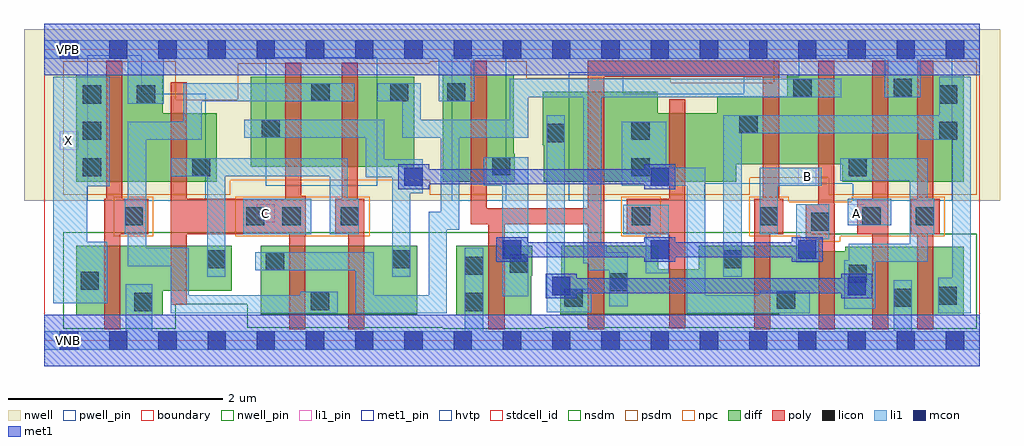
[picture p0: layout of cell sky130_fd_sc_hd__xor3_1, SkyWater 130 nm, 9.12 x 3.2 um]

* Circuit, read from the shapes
.subckt sky130_fd_sc_hd__xor3_1 A B C VGND VNB VPB VPWR X
XM1 VGND n1 X VNB sky130_fd_pr__nfet_01v8 w=0.65 l=0.15
XM2 n2 C VGND VNB sky130_fd_pr__nfet_01v8 w=0.42 l=0.15
XM3 n1 C n3 VNB sky130_fd_pr__nfet_01v8 w=0.64 l=0.15
XM4 n4 n2 n1 VNB sky130_fd_pr__nfet_01v8 w=0.64 l=0.15
XM5 n5 B VGND VNB sky130_fd_pr__nfet_01v8 w=0.65 l=0.15
XM6 n3 B n6 VNB sky130_fd_pr__nfet_01v8 w=0.64 l=0.15
XM7 n7 n5 n3 VNB sky130_fd_pr__nfet_01v8 w=0.42 l=0.15
XM8 n4 B n7 VNB sky130_fd_pr__nfet_01v8 w=0.64 l=0.15
XM9 n6 n5 n4 VNB sky130_fd_pr__nfet_01v8 w=0.6 l=0.15
XM10 VGND A n6 VNB sky130_fd_pr__nfet_01v8 w=0.64 l=0.15
XM11 n7 n6 VGND VNB sky130_fd_pr__nfet_01v8 w=0.64 l=0.15
XM12 VPWR n1 X VPB sky130_fd_pr__pfet_01v8_hvt w=1 l=0.15
XM13 n2 C VPWR VPB sky130_fd_pr__pfet_01v8_hvt w=0.64 l=0.15
XM14 n1 C n4 VPB sky130_fd_pr__pfet_01v8_hvt w=0.84 l=0.15
XM15 n3 n2 n1 VPB sky130_fd_pr__pfet_01v8_hvt w=0.84 l=0.15
XM16 n5 B VPWR VPB sky130_fd_pr__pfet_01v8_hvt w=1 l=0.15
XM17 n4 B n6 VPB sky130_fd_pr__pfet_01v8_hvt w=0.84 l=0.15
XM18 n7 n5 n4 VPB sky130_fd_pr__pfet_01v8_hvt w=0.64 l=0.15
XM19 n3 B n7 VPB sky130_fd_pr__pfet_01v8_hvt w=0.64 l=0.15
XM20 n6 n5 n3 VPB sky130_fd_pr__pfet_01v8_hvt w=0.84 l=0.15
XM21 VPWR A n6 VPB sky130_fd_pr__pfet_01v8_hvt w=1 l=0.15
XM22 n7 n6 VPWR VPB sky130_fd_pr__pfet_01v8_hvt w=1 l=0.15
.ends

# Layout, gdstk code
import gdstk
lib = gdstk.Library(unit=1e-6, precision=1e-09)
def R(c, l, rs):  # rectangles x0, y0, x1, y1
    for r in rs: c.add(gdstk.rectangle(r[:2], r[2:], *l))
def A(c, l, x, y, w, h, nx, ny, dx, dy):  # array of equal rectangles
    R(c, l, [(x+i*dx, y+j*dy, x+i*dx+w, y+j*dy+h) for i in range(nx) for j in range(ny)])
nwell_pin = (64, 16)
nwell = (64, 20)
diff = (65, 20)
poly = (66, 20)
licon = (66, 44)
li1_pin = (67, 16)
li1 = (67, 20)
mcon = (67, 44)
met1_pin = (68, 16)
met1 = (68, 20)
hvtp = (78, 44)
stdcell_id = (81, 4)
nsdm = (93, 44)
psdm = (94, 20)
npc = (95, 20)
pwell_pin = (122, 16)
boundary = (235, 4)

sky130_fd_sc_hd__xor3_1 = lib.new_cell('sky130_fd_sc_hd__xor3_1')
R(sky130_fd_sc_hd__xor3_1, nwell_pin, [(0.145,2.635,0.315,2.805)])
R(sky130_fd_sc_hd__xor3_1, nwell, [(-0.19,1.305,8.93,2.91)])
R(sky130_fd_sc_hd__xor3_1, diff, [(0.3,0.235,1.105,0.465), (3.85,0.235,4.55,0.605), (6.87,0.235,8.59,0.245), (2.02,0.245,3.485,0.885), (4.82,0.245,8.59,0.525), (0.3,0.465,1.75,0.885), (4.83,0.525,8.59,0.665), (3.85,0.605,4.56,0.885), (4.83,0.665,5.735,0.885), (6.115,0.665,8.59,0.835), (6.115,0.835,7.035,0.885), (7.485,0.835,8.59,0.875), (0.3,1.485,1.61,2.125), (3.725,1.485,4.395,1.745), (4.665,1.485,6.465,1.645), (7.455,1.485,8.59,1.645), (1.93,1.625,3.455,2.465), (4.665,1.645,8.59,1.825), (3.725,1.745,4.385,2.485), (4.655,1.825,8.59,2.125), (0.3,2.125,1.105,2.485), (4.655,2.125,5.73,2.325), (6.29,2.125,8.59,2.285), (6.94,2.285,8.59,2.485)])
R(sky130_fd_sc_hd__xor3_1, poly, [(0.56,0.105,0.71,0.995), (2.29,0.105,2.44,0.985), (2.84,0.105,2.99,0.995), (4.15,0.105,4.3,1.085), (5.08,0.105,5.23,1.085), (6.635,0.105,6.785,0.995), (7.235,0.105,7.385,0.945), (7.735,0.105,7.885,0.995), (8.155,0.105,8.305,0.995), (5.84,0.115,5.99,0.995), (1.18,0.335,1.33,0.995), (7.115,0.945,7.385,1.275), (2.29,0.985,2.445,0.995), (0.56,0.995,0.97,1.325), (1.18,0.995,2.445,1.325), (2.72,0.995,2.99,1.325), (5.44,0.995,5.99,1.325), (6.635,0.995,6.905,1.325), (7.595,0.995,7.885,1.325), (8.095,0.995,8.365,1.325), (3.985,1.085,5.23,1.235), (3.985,1.235,4.135,2.615), (5.08,1.235,5.23,2.465), (7.23,1.275,7.385,1.28), (7.23,1.28,7.38,2.615), (0.58,1.325,0.73,2.615), (1.18,1.325,1.33,2.415), (2.25,1.325,2.445,1.355), (2.78,1.325,2.93,2.595), (5.84,1.325,5.99,2.255), (6.715,1.325,6.865,2.465), (7.735,1.325,7.885,2.615), (8.155,1.325,8.305,2.615), (2.25,1.355,2.4,2.595), (5.08,2.465,6.865,2.615)])
A(sky130_fd_sc_hd__xor3_1, licon, 0.36, 1.535, 0.17, 0.17, 1, 3, 0, 0.34)
R(sky130_fd_sc_hd__xor3_1, licon, [(0.84,0.275,1.01,0.445), (3.93,0.275,4.1,0.445), (2.49,0.285,2.66,0.455), (6.845,0.295,7.015,0.465), (4.86,0.315,5.03,0.485), (7.935,0.315,8.105,0.485), (8.355,0.335,8.525,0.505), (5.28,0.46,5.45,0.63), (0.34,0.475,0.51,0.645), (7.515,0.54,7.685,0.71), (3.93,0.615,4.1,0.785), (4.35,0.635,4.52,0.805), (2.07,0.655,2.24,0.825), (1.52,0.675,1.69,0.845), (3.25,0.675,3.42,0.845), (6.345,0.675,6.515,0.845), (7.165,1.025,7.335,1.195), (0.75,1.075,0.92,1.245), (1.885,1.075,2.055,1.245), (2.225,1.075,2.395,1.245), (2.77,1.075,2.94,1.245), (5.49,1.075,5.66,1.245), (6.685,1.075,6.855,1.245), (7.645,1.075,7.815,1.245), (8.145,1.075,8.315,1.245), (1.38,1.535,1.55,1.705), (5.485,1.535,5.655,1.705), (7.515,1.535,7.685,1.705), (4.185,1.545,4.355,1.715), (4.695,1.855,4.865,2.025), (5.485,1.875,5.655,2.045), (8.36,1.875,8.53,2.045), (2.03,1.895,2.2,2.065), (6.495,1.935,6.665,2.105), (0.865,2.215,1.035,2.385), (8.36,2.215,8.53,2.385), (2.495,2.235,2.665,2.405), (3.23,2.235,3.4,2.405), (3.765,2.235,3.935,2.405), (7,2.275,7.17,2.445), (7.935,2.275,8.105,2.445)])
R(sky130_fd_sc_hd__xor3_1, li1_pin, [(1.985,1.105,2.155,1.275), (7.505,1.105,7.675,1.275), (7.045,1.445,7.215,1.615), (0.145,1.785,0.315,1.955)])
R(sky130_fd_sc_hd__xor3_1, li1, [(0,-0.085,8.74,0.085), (0.76,0.085,1.01,0.525), (3.93,0.085,4.1,0.865), (7.935,0.085,8.105,0.565), (1.18,0.255,2.74,0.425), (2.91,0.255,3.76,0.425), (6.005,0.255,7.15,0.425), (8.355,0.255,8.655,0.585), (4.695,0.265,5.11,0.485), (7.475,0.295,7.765,0.735), (5.28,0.32,5.45,0.655), (0.085,0.35,0.59,0.925), (4.28,0.415,4.52,1.445), (1.18,0.425,1.35,0.695), (2.39,0.425,2.74,0.455), (2.91,0.425,3.08,0.655), (3.59,0.425,3.76,1.035), (6.005,0.425,6.175,1.445), (6.685,0.425,7.15,0.465), (4.695,0.485,4.915,0.595), (8.485,0.585,8.655,1.875), (1.52,0.595,1.69,1.535), (3.25,0.595,3.42,1.375), (4.695,0.595,4.865,2.105), (6.345,0.595,6.515,1.935), (5.62,0.63,5.835,0.995), (1.97,0.655,3.08,0.825), (5.085,0.655,5.45,0.72), (0.78,0.695,1.35,0.865), (5.035,0.72,5.45,0.825), (7.025,0.73,7.23,0.945), (7.475,0.735,8.255,0.75), (7.515,0.75,8.255,0.905), (5.035,0.825,5.255,0.89), (0.78,0.865,0.95,0.995), (5.035,0.89,5.205,2.275), (8.085,0.905,8.255,0.995), (0.085,0.925,0.4,1.44), (7.025,0.945,7.335,1.275), (0.75,0.995,0.95,1.325), (1.86,0.995,2.495,1.325), (2.665,0.995,2.94,1.325), (5.41,0.995,5.835,1.27), (6.685,0.995,6.855,1.445), (8.085,0.995,8.315,1.325), (3.59,1.035,3.875,1.205), (7.505,1.075,7.915,1.325), (3.705,1.205,3.875,1.895), (0.78,1.325,0.95,1.875), (2.665,1.325,2.835,1.535), (8.085,1.325,8.255,1.495), (3.25,1.375,3.535,1.525), (0.085,1.44,0.61,2.465), (4.105,1.445,4.52,1.715), (5.395,1.445,6.175,1.615), (6.685,1.445,7.265,1.615), (7.435,1.495,8.255,1.705), (3.005,1.525,3.535,1.695), (1.185,1.535,2.835,1.705), (5.395,1.615,5.81,2.045), (3.005,1.695,3.175,1.895), (0.78,1.875,1.47,2.045), (8.17,1.875,8.655,1.935), (1.87,1.895,3.175,2.065), (3.345,1.895,4.52,2.065), (6.345,1.935,8.655,2.105), (1.3,2.045,1.47,2.235), (3.345,2.065,3.515,2.235), (4.35,2.065,4.52,2.275), (8.36,2.105,8.655,2.465), (0.78,2.215,1.115,2.635), (1.3,2.235,2.895,2.405), (3.11,2.235,3.515,2.405), (3.685,2.235,4.015,2.635), (4.35,2.275,7.445,2.445), (7.855,2.275,8.19,2.635), (0,2.635,8.74,2.805)])
A(sky130_fd_sc_hd__xor3_1, mcon, 0.145, -0.085, 0.17, 0.17, 19, 2, 0.46, 2.72)
A(sky130_fd_sc_hd__xor3_1, mcon, 4.285, 0.765, 0.17, 0.17, 3, 1, 1.38, 0)
R(sky130_fd_sc_hd__xor3_1, mcon, [(4.745,0.425,4.915,0.595), (7.505,0.425,7.675,0.595), (3.365,1.445,3.535,1.615), (5.665,1.445,5.835,1.615)])
R(sky130_fd_sc_hd__xor3_1, met1_pin, [(0.145,-0.085,0.315,0.085), (0.145,2.635,0.315,2.805)])
A(sky130_fd_sc_hd__xor3_1, met1, 4.225, 0.735, 0.29, 0.045, 3, 2, 1.38, 0.185)
R(sky130_fd_sc_hd__xor3_1, met1, [(0,-0.24,8.74,0.24), (4.685,0.395,4.975,0.44), (7.445,0.395,7.735,0.44), (4.685,0.44,7.735,0.58), (4.685,0.58,4.975,0.625), (7.445,0.58,7.735,0.625), (4.225,0.78,7.275,0.92), (3.305,1.415,3.595,1.46), (5.605,1.415,5.895,1.46), (3.305,1.46,5.895,1.6), (3.305,1.6,3.595,1.645), (5.605,1.6,5.895,1.645), (0,2.48,8.74,2.96)])
R(sky130_fd_sc_hd__xor3_1, hvtp, [(0.4,1.305,1.51,2.305), (3.805,1.305,4.315,2.665), (4.9,1.305,6.17,1.465), (7.555,1.305,8.485,1.465), (2.07,1.445,3.11,2.645), (4.9,1.465,8.485,2.305), (0.4,2.305,0.91,2.665), (4.9,2.305,5.41,2.505), (6.535,2.305,8.485,2.465), (7.05,2.465,8.485,2.665)])
R(sky130_fd_sc_hd__xor3_1, stdcell_id, [(0,0,8.74,2.72)])
R(sky130_fd_sc_hd__xor3_1, nsdm, [(0.175,0.11,1.23,0.34), (3.725,0.11,4.675,0.12), (6.745,0.11,8.715,0.12), (1.895,0.12,8.715,0.34), (0.175,0.34,8.715,1), (0.175,1,7.16,1.01)])
R(sky130_fd_sc_hd__xor3_1, psdm, [(0.175,1.36,1.735,1.5), (3.6,1.36,6.59,1.5), (7.33,1.36,8.715,1.52), (0.175,1.5,6.59,1.52), (0.175,1.52,8.715,2.25), (0.175,2.25,1.23,2.61), (1.805,2.25,8.715,2.41), (1.805,2.41,5.855,2.45), (6.815,2.41,8.715,2.61), (1.805,2.45,4.51,2.59), (3.6,2.59,4.51,2.61)])
R(sky130_fd_sc_hd__xor3_1, npc, [(7.065,0.925,7.435,0.975), (0.65,0.975,1.02,1.345), (1.785,0.975,3.04,1.345), (5.39,0.975,5.76,1.345), (6.585,0.975,8.415,1.295), (6.585,1.295,6.955,1.345), (7.545,1.295,8.415,1.345)])
R(sky130_fd_sc_hd__xor3_1, pwell_pin, [(0.145,-0.085,0.315,0.085)])
R(sky130_fd_sc_hd__xor3_1, boundary, [(0,0,8.74,2.72)])
sky130_fd_sc_hd__xor3_1.add(gdstk.Label('VNB', (0.23,0), layer=64, texttype=59))
sky130_fd_sc_hd__xor3_1.add(gdstk.Label('VPB', (0.23,2.72), layer=64, texttype=5))
sky130_fd_sc_hd__xor3_1.add(gdstk.Label('VGND', (0.23,0), layer=68, texttype=5))
sky130_fd_sc_hd__xor3_1.add(gdstk.Label('VPWR', (0.23,2.72), layer=68, texttype=5))
sky130_fd_sc_hd__xor3_1.add(gdstk.Label('X', (0.23,1.87), layer=67, texttype=5))
sky130_fd_sc_hd__xor3_1.add(gdstk.Label('C', (2.07,1.19), layer=67, texttype=5))
sky130_fd_sc_hd__xor3_1.add(gdstk.Label('B', (7.13,1.53), layer=67, texttype=5))
sky130_fd_sc_hd__xor3_1.add(gdstk.Label('A', (7.59,1.19), layer=67, texttype=5))

lib.write_gds('sky130_fd_sc_hd__xor3_1.gds')
